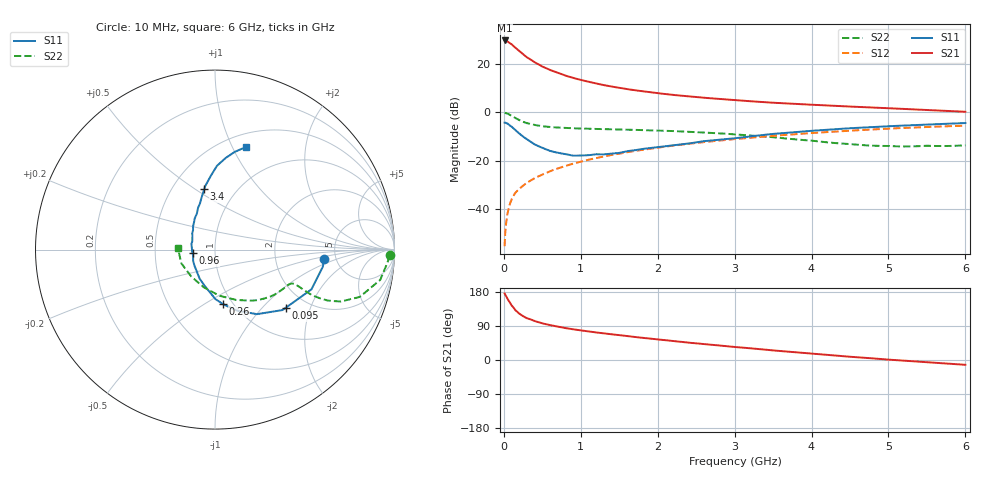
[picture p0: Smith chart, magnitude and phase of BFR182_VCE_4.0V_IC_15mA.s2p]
! Infineon Technologies  Discrete & RF Semiconductors
! BFR182
! VCE =  4.0 V,  IC =  15 mA
! Common Emitter S-Parameters:  Nov 2015
# GHz  S  MA  R  50
!  f  S11  S21  S12  S22
! GHz  MAG  ANG  MAG  ANG  MAG  ANG  MAG  ANG
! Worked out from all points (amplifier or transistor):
!   210 points, 10 MHz to 6 GHz, reference 50 ohm
!   highest |S21| = 29.7 dB at 10 MHz (marker M1)
!   |S21| within 3 dB of that: start of sweep to 149.9 MHz
!   unconditionally stable (mu >= 1): 669.9 MHz to 2.561 GHz
!   at 185 MHz: K = 0.62, MSG = 28.9 dB, |S12| = -32.1 dB
!   at 1.52 GHz: K = 1.05, MAG = 12.2 dB, |S12| = -17.0 dB
!   at 6 GHz: K = 0.89, MSG = 2.9 dB, |S12| = -5.6 dB
!   S11 on the Smith chart (normalised r, x): 10 MHz: 4.02, -0.64; 95 MHz: 1.56, -1.37; 260 MHz: 0.90, -0.60; 960 MHz: 0.78, -0.03; 3.4 GHz: 0.71, +0.54; 6 GHz: 0.64, +1.13
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0.01  0.61 -4.7  30.44 175.5  0.0017 91.8  0.9733 -1.9
0.05  0.5812 -22.4  28.94 160.4  0.0084 81.3  0.9357 -10.4
0.095  0.5099 -39.6  25.71 146.1  0.015 74.4  0.8566 -17.3
0.1  0.5052 -41.8  25.46 144.3  0.0157 74.0  0.8486 -18.1
0.15  0.4289 -57.0  21.54 131.4  0.0216 70.2  0.7585 -22.4
0.2  0.3639 -69.7  18.41 122.4  0.026 70.0  0.6865 -24.4
0.24  0.3227 -77.8  16.24 117.0  0.0294 68.9  0.6434 -24.9
0.26  0.3055 -81.9  15.3 114.5  0.0312 68.9  0.6248 -25.0
0.3  0.276 -89.5  13.67 110.3  0.0347 69.6  0.5938 -25.1
0.4  0.2164 -103.8  10.79 102.8  0.0431 70.4  0.5445 -24.5
0.5  0.1839 -117.6  8.81 96.5  0.0513 71.3  0.5125 -23.8
0.6  0.1587 -129.4  7.477 92.0  0.0602 71.5  0.494 -23.5
0.7  0.1455 -141.8  6.497 87.9  0.0687 71.8  0.4815 -23.5
0.96  0.1266 -170.9  4.831 79.3  0.0914 71.2  0.4621 -24.4
1.02  0.1278 -177.0  4.568 77.6  0.0967 71.0  0.4589 -24.8
1.4  0.1399 154.4  3.39 67.8  0.1303 69.2  0.4435 -28.5
2.02  0.1916 127.6  2.455 53.9  0.1869 64.2  0.4173 -36.7
3.1  0.3021 104.1  1.731 32.8  0.2872 53.7  0.3393 -56.8
3.4  0.3422 100.1  1.608 27.3  0.3153 50.5  0.3121 -64.4
4.1  0.4228 92.2  1.403 15.2  0.3799 42.5  0.2479 -88.3
5.1  0.5216 82.4  1.189 -0.3  0.4655 30.2  0.1973 -136.3
6  0.5971 73.2  1.022 -12.7  0.5265 17.9  0.207 177.3
